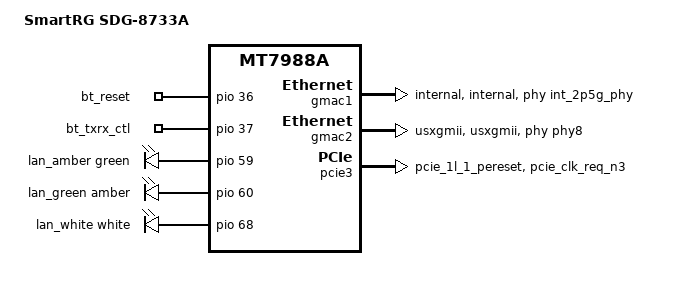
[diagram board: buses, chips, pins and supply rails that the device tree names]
// SPDX-License-Identifier: (GPL-2.0 OR MIT)
/*
 * Copyright (C) 2024 SmartRG Inc.
 * Author: Chad Monroe <chad.monroe@smartrg.com>
 */

#include "mt7988a-smartrg-mt-stuart.dtsi"

/ {
	model = "SmartRG SDG-8733A";
	compatible = "smartrg,sdg-8733a", "mediatek,mt7988a";

	cpus {
		/delete-node/ cpu@3;
	};

	/delete-node/ gpio-export;
	/delete-node/ gpio-leds;

	gpio_export: gpio-export {
		compatible = "gpio-export";

		bluetooth_reset: bluetooth-reset {
			gpio-export,name = "bt_reset";
			gpio-export,direction_may_change;
			gpios = <&pio 36 GPIO_ACTIVE_HIGH>;
		};

		bluetooth_txrx_ctl: bluetooth-txrx-ctl {
			gpio-export,name = "bt_txrx_ctl";
			gpio-export,direction_may_change;
			gpios = <&pio 37 GPIO_ACTIVE_HIGH>;
		};
	};

	leds: gpio-leds {
		compatible = "gpio-leds";

		lan_amber {
			color = <LED_COLOR_ID_GREEN>;
			function = "lan";
			gpios = <&pio 59 GPIO_ACTIVE_HIGH>;
		};

		lan_green {
			color = <LED_COLOR_ID_AMBER>;
			function = "lan";
			gpios = <&pio 60 GPIO_ACTIVE_HIGH>;
		};

		lan_white {
			color = <LED_COLOR_ID_WHITE>;
			function = "lan";
			gpios = <&pio 68 GPIO_ACTIVE_HIGH>;
		};
	};
};

&fan {
	pwms = <&pwm 1 40000 0>;

	interrupts = <57 IRQ_TYPE_EDGE_FALLING>;
};

&gmac0 {
	status = "disabled";
};

&gmac1 {
	label = "lan";
	phy-mode = "internal";
	phy-connection-type = "internal";
	phy = <&int_2p5g_phy>;
};

&gmac2 {
	label = "wan";
	phy-mode = "usxgmii";
	phy-connection-type = "usxgmii";
	phy = <&phy8>;
};

&int_2p5g_phy {
	pinctrl-names = "i2p5gbe-led";
	pinctrl-0 = <&gbe1_led0_pins>;
};

&mdio_bus {
	/delete-node/ ethernet-phy@0;
};

&pio {
	pcie3_1_pins: pcie3-pins-g1 {
		mux {
			function = "pcie";
			groups = "pcie_1l_1_pereset", "pcie_clk_req_n3";
		};
	};
};

&pcie0 {
	wifi-reset-gpios = <&pio 9 GPIO_ACTIVE_HIGH>;
};

&pcie1 {
	status = "disabled";
};

&pcie3 {
	pinctrl-names = "default";
	pinctrl-0 = <&pcie3_1_pins>;
	status = "okay";
};

&phy8 {
	reset-gpios = <&pio 62 GPIO_ACTIVE_LOW>;
	mdi-reversal = /bits/ 16 <0>;
};

&ssusb0 {
	status = "disabled";
};

&ssusb1 {
	status = "disabled";
};

&switch {
	status = "disabled";
};

&tphy {
	status = "disabled";
};

&uart1 {
	status = "disabled";
};

&xphy {
	status = "disabled";
};
